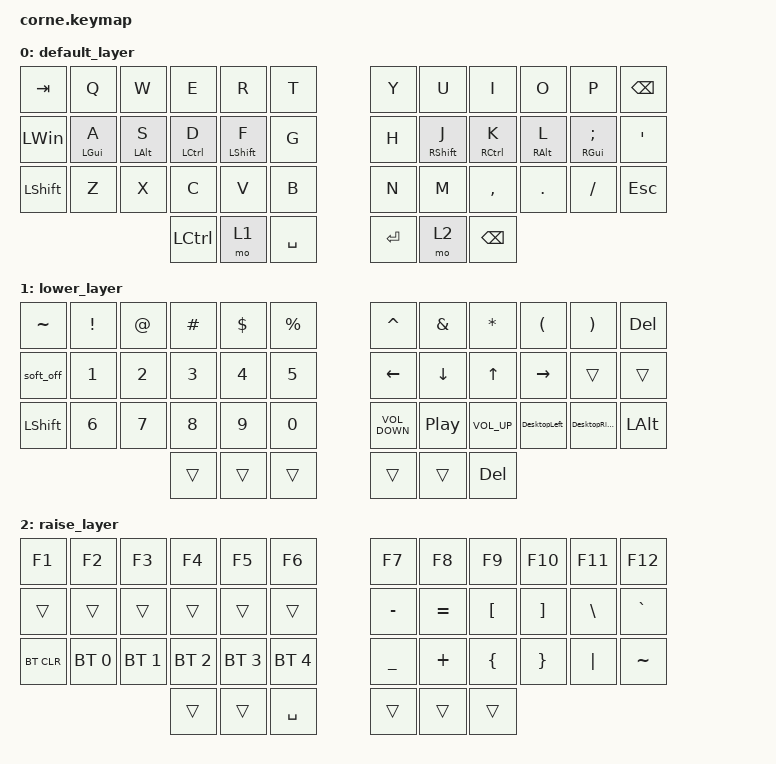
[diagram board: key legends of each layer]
/*
 * Copyright (c) 2020 The ZMK Contributors
 *
 * SPDX-License-Identifier: MIT
 */

#include <behaviors.dtsi>
#include <dt-bindings/zmk/bt.h>
#include <dt-bindings/zmk/keys.h>

&mt {
    tapping-term-ms = <170>;
    quick-tap-ms = <100>;
    flavor = "tap-preferred";
};

/ {
    macros {
        DesktopLeft: DesktopLeft {
            compatible = "zmk,behavior-macro";
            #binding-cells = <0>;
            bindings =
                <&macro_press>,
                <&kp LEFT_WIN &kp LCTRL>,
                <&macro_tap>,
                <&kp LEFT_ARROW>,
                <&macro_release>,
                <&kp LEFT_WIN &kp LCTRL>;

            label = "DESKTOPLEFT";
        };

        DesktopRight: DesktopRight {
            compatible = "zmk,behavior-macro";
            #binding-cells = <0>;
            bindings =
                <&macro_press>,
                <&kp LEFT_WIN &kp LCTRL>,
                <&macro_tap>,
                <&kp RIGHT_ARROW>,
                <&macro_release>,
                <&kp LEFT_WIN &kp LCTRL>;

            label = "DESKTOPRIGHT";
        };

        Ctrl_C: Clear_Terminal {
            compatible = "zmk,behavior-macro";
            #binding-cells = <0>;
            bindings =
                <&macro_press>,
                <&kp RIGHT_CONTROL>,
                <&macro_tap>,
                <&kp C>,
                <&macro_release>,
                <&kp LEFT_CONTROL>;

            label = "CLEAR_TERMINAL";
        };

        clear: clear {
            compatible = "zmk,behavior-macro";
            #binding-cells = <0>;
            bindings =
                <&macro_press>,
                <&kp LCTRL &kp LEFT_ALT>,
                <&macro_tap>,
                <&kp L>,
                <&macro_release>,
                <&kp LCTRL &kp LEFT_ALT>;

            label = "CLEAR";
        };
    };

    combos {
        compatible = "zmk,combos";

        combo_escape {
            bindings = <&kp ESCAPE>;
            key-positions = <0 1>;
        };

        combo_ctrl-c {
            bindings = <&kp LC(C)>;
            key-positions = <14 15 16>;
        };
    };

    keymap {
        compatible = "zmk,keymap";

        default_layer {
            // -----------------------------------------------------------------------------------------
            // |  TAB |  Q  |  W  |  E  |  R  |  T  |   |  Y  |  U   |  I  |  O  |  P  | BKSP |
            // | GUI  |  A  |  S  |  D  |  F  |  G  |   |  H  |  J   |  K  |  L  |  ;  |  '   |
            // | SHFT |  Z  |  X  |  C  |  V  |  B  |   |  N  |  M   |  ,  |  .  |  /  | ESC  |
            //                    | CTRL| LWR | SPC |   | ENT | RSE  | ALT |

            bindings = <
&kp TAB       &kp Q       &kp W           &kp E               &kp R             &kp T        &kp Y       &kp U              &kp I                &kp O            &kp P               &kp BACKSPACE
&kp LEFT_WIN  &mt LGUI A  &mt LEFT_ALT S  &mt LEFT_CONTROL D  &mt LEFT_SHIFT F  &kp G        &kp H       &mt RIGHT_SHIFT J  &mt RIGHT_CONTROL K  &mt RIGHT_ALT L  &mt RGUI SEMICOLON  &kp SQT
&kp LSHFT     &kp Z       &kp X           &kp C               &kp V             &kp B        &kp N       &kp M              &kp COMMA            &kp DOT          &kp FSLH            &kp ESCAPE
                                          &kp LCTRL           &mo 1             &kp SPACE    &kp RETURN  &mo 2              &kp BACKSPACE
            >;
        };

        lower_layer {
            // -----------------------------------------------------------------------------------------
            // |  TAB |  1  |  2  |  3  |  4  |  5  |   |  6  |  7  |  8  |  9  |  0  | BKSP |
            // | BTCLR| BT1 | BT2 | BT3 | BT4 | BT5 |   | LFT | DWN |  UP | RGT |     |      |
            // | SHFT |     |     |     |     |     |   |     |     |     |     |     |      |
            //                    | GUI |     | SPC |   | ENT |     | ALT |

            bindings = <
&kp TILDE  &kp EXCLAMATION  &kp AT_SIGN   &kp HASH      &kp DOLLAR    &kp PERCENT     &kp CARET          &kp AMPERSAND     &kp ASTERISK     &kp LEFT_PARENTHESIS  &kp RIGHT_PARENTHESIS  &kp DELETE
&soft_off  &kp NUMBER_1     &kp NUMBER_2  &kp NUMBER_3  &kp NUMBER_4  &kp NUMBER_5    &kp LEFT           &kp DOWN          &kp UP           &kp RIGHT             &trans                 &trans
&kp LSHFT  &kp NUMBER_6     &kp NUMBER_7  &kp NUMBER_8  &kp NUMBER_9  &kp NUMBER_0    &kp C_VOLUME_DOWN  &kp C_PLAY_PAUSE  &kp C_VOLUME_UP  &DesktopLeft          &DesktopRight          &kp LEFT_ALT
                                          &trans        &trans        &trans          &trans             &trans            &kp DELETE
            >;
        };

        raise_layer {
            // -----------------------------------------------------------------------------------------
            // |  TAB |  !  |  @  |  #  |  $  |  %  |   |  ^  |  &  |  *  |  (  |  )  | BKSP |
            // | CTRL |     |     |     |     |     |   |  -  |  =  |  [  |  ]  |  \  |  `   |
            // | SHFT |     |     |     |     |     |   |  _  |  +  |  {  |  }  | "|" |  ~   |
            //                    | GUI |     | SPC |   | ENT |     | ALT |

            bindings = <
&kp F1      &kp F2        &kp F3        &kp F4        &kp F5        &kp F6          &kp F7     &kp F8     &kp F9    &kp F10   &kp F11   &kp F12
&trans      &trans        &trans        &trans        &trans        &trans          &kp MINUS  &kp EQUAL  &kp LBKT  &kp RBKT  &kp BSLH  &kp GRAVE
&bt BT_CLR  &bt BT_SEL 0  &bt BT_SEL 1  &bt BT_SEL 2  &bt BT_SEL 3  &bt BT_SEL 4    &kp UNDER  &kp PLUS   &kp LBRC  &kp RBRC  &kp PIPE  &kp TILDE
                                        &trans        &trans        &kp SPACE       &trans     &trans     &trans
            >;
        };
    };
};
